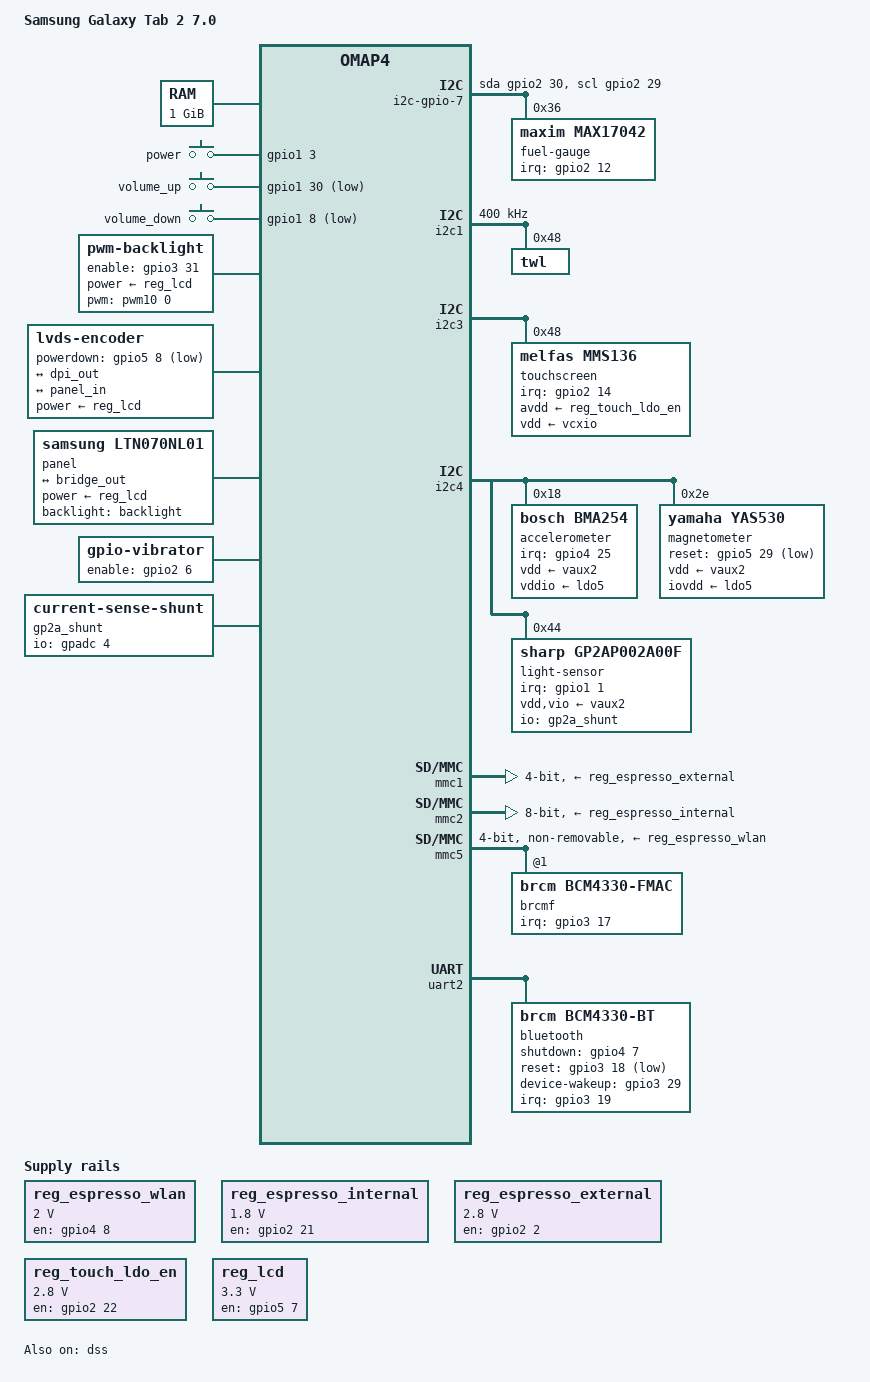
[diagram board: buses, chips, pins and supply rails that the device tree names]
// SPDX-License-Identifier: (GPL-2.0 OR MIT)
/dts-v1/;
#include "dt-bindings/gpio/gpio.h"
#include <dt-bindings/interrupt-controller/irq.h>
#include <dt-bindings/input/input.h>
#include "omap443x.dtsi"

/ {
	model = "Samsung Galaxy Tab 2 7.0";
	compatible = "samsung,espresso", "ti,omap4430", "ti,omap4";

	memory@80000000 {
		device_type = "memory";
		reg = <0x80000000 0x40000000>; /* 1 GB */
	};

	chosen {
		#address-cells = <1>;
		#size-cells = <1>;
		ranges;
	};

	i2c-gpio-7 {
		compatible = "i2c-gpio";
		sda-gpios = <&gpio2 30 (GPIO_ACTIVE_HIGH | GPIO_OPEN_DRAIN)>;
		scl-gpios = <&gpio2 29 (GPIO_ACTIVE_HIGH | GPIO_OPEN_DRAIN)>;
		i2c-gpio,delay-us = <3>;
		#address-cells = <1>;
		#size-cells = <0>;

		fuel-gauge@36 {
			compatible = "maxim,max17042";
			reg = <0x36>;
			pinctrl-0 = <&fuel_alert_irq>;
			pinctrl-names = "default";
			interrupt-parent = <&gpio2>;
			interrupts = <12 IRQ_TYPE_LEVEL_LOW>;
			maxim,rsns-microohm = <10000>;
			maxim,over-heat-temp = <500>;
			maxim,dead-volt = <2500>;
			maxim,over-volt = <4300>;
		};
	};

	reg_espresso_wlan: regulator-espresso-wlan {
		pinctrl-names = "default";
		pinctrl-0 = <&wlanen_gpio>;
		compatible = "regulator-fixed";
		regulator-name = "espresso_wlan";
		regulator-max-microvolt = <2000000>;
		regulator-min-microvolt = <2000000>;
		gpio = <&gpio4 8 GPIO_ACTIVE_HIGH>; /* GPIO_104 */
		startup-delay-us = <70000>;
		regulator-always-on;
		enable-active-high;
	};

	reg_espresso_internal: regulator-espresso-internal {
		compatible = "regulator-fixed";
		regulator-name = "eMMC_LDO";
		regulator-max-microvolt = <1800000>;
		regulator-min-microvolt = <1800000>;
		gpios = <&gpio2 21 GPIO_ACTIVE_HIGH>; /* GPIO_63 */
		startup-delay-us = <100000>;
		regulator-boot-on;
		regulator-always-on;
		enable-active-high;
	};

	reg_espresso_external: regulator-espresso-external {
		compatible = "regulator-fixed";
		regulator-name = "vmmc1";
		regulator-max-microvolt = <2800000>;
		regulator-min-microvolt = <2800000>;
		gpios = <&gpio2 2 GPIO_ACTIVE_HIGH>; /* GPIO_34 */
		regulator-always-on;
		enable-active-high;
	};

	reg_touch_ldo_en: regulator-touch-ldo-en  {
		compatible = "regulator-fixed";
		regulator-name = "touch_ldo_en";
		regulator-max-microvolt = <2800000>;
		regulator-min-microvolt = <2800000>;
		gpios = <&gpio2 22 GPIO_ACTIVE_HIGH>; /* GPIO_54 */
		regulator-always-on;
		enable-active-high;
	};

	gpio-keys {
		compatible = "gpio-keys";
		pinctrl-names = "default";
		pinctrl-0 = <&gpio_keys>;

		power {
			label = "power";

			gpios = <&gpio1 3 GPIO_ACTIVE_HIGH>; /* GPIO_wk3 */
			linux,code = <KEY_POWER>;
			wakeup-source;
		};

		button-volup {
			linux,code = <KEY_VOLUMEUP>;
			label = "volume_up"; /* GPIO_wk30 */
			gpios = <&gpio1 30 GPIO_ACTIVE_LOW>;
		};

		button-voldown {
			linux,code = <KEY_VOLUMEDOWN>;
			label = "volume_down"; /* GPIO_wk8 */
			gpios = <&gpio1 8 GPIO_ACTIVE_LOW>;
		};
	};

	reg_lcd: regulator-lcd  {
		compatible = "regulator-fixed";
		regulator-name = "lcd_en";
		gpios = <&gpio5 7 GPIO_ACTIVE_HIGH>; /* GPIO_135 */
		regulator-max-microvolt = <3300000>;
		regulator-min-microvolt = <3300000>;
		enable-active-high;
		regulator-boot-on;
	};

	pwm10: dmtimer-pwm@10 {
		pinctrl-names = "default";
		pinctrl-0 = <&pwm10_default>;
		compatible = "ti,omap-dmtimer-pwm";
		#pwm-cells = <3>;
		ti,timers = <&timer10>;
		ti,clock-source = <0x00>;
	};

	backlight: backlight {
		compatible = "pwm-backlight";
		pinctrl-names = "default";
		pinctrl-0 = <&backlight_pins>;
		pwms = <&pwm10 0 1200 0>;
		power-supply = <&reg_lcd>;
		enable-gpios = <&gpio3 31 GPIO_ACTIVE_HIGH>;
		brightness-levels = <0 4 8 16 32 64 128 255>;
		default-brightness-level = <7>;
	};

	lvds-encoder {
		compatible = "lvds-encoder", "doestek,dtc34lm85am";
		powerdown-gpios = <&gpio5 8 GPIO_ACTIVE_LOW>; /* GPIO_136 */
		power-supply = <&reg_lcd>;
		ports {
			#address-cells = <1>;
			#size-cells = <0>;

			port@0 {
				reg = <0>;
				bridge_in: endpoint {
					remote-endpoint = <&dpi_out>;
				};
			};

			port@1 {
				reg = <1>;
				bridge_out: endpoint {
					remote-endpoint = <&panel_in>;
				};
			};
		};
	};

	panel {
		compatible = "samsung,ltn070nl01", "panel-lvds";
		power-supply = <&reg_lcd>;
		width-mm = <154>;
		height-mm = <90>;
		data-mapping = "jeida-24";
		backlight = <&backlight>;

		panel-timing {
			clock-frequency = <47255554>;

			hback-porch = <210>;
			hactive = <1024>;
			hfront-porch = <186>;
			hsync-len = <50>;

			vback-porch = <11>;
			vactive = <600>;
			vfront-porch = <24>;
			vsync-len = <10>;

			hsync-active = <0>;
			vsync-active = <0>;
			de-active = <1>;
			pixelclk-active = <1>;
			syncclk-active = <0>;
		};

		port {
			panel_in: endpoint {
				remote-endpoint = <&bridge_out>;
			};
		};
	};

	vibrator {
		compatible = "gpio-vibrator";
		enable-gpios = <&gpio2 6 GPIO_ACTIVE_HIGH>; /* GPIO_38 */
		pinctrl-names = "default";
		pinctrl-0 = <&vibrator_default>;
	};

	gp2a_shunt: current-sense-shunt {
		compatible = "current-sense-shunt";
		io-channels = <&gpadc 4>;
		shunt-resistor-micro-ohms = <24000000>; /* 24 ohms */
		#io-channel-cells = <0>;
		io-channel-ranges;
	};
};

&omap4_pmx_wkup {
	twl6030_wkup_pins: pinmux_twl6030_wkup_pins {
		pinctrl-single,pins = <
			OMAP4_IOPAD(0x54, PIN_OUTPUT | MUX_MODE3)	/* fref_clk0_out.sys_drm_msecure */
		>;
	};

	gpio_keys: pinmux_gpio_keys {
		pinctrl-single,pins = <
			OMAP4_IOPAD(0x046, WAKEUP_EN | PIN_INPUT | MUX_MODE3) /* sim_cd.gpio_wk3 - EXT_WAKEUP */
			OMAP4_IOPAD(0x056, WAKEUP_EN | PIN_INPUT | MUX_MODE3) /* fref_clk3_req.gpio_wk30 - VOL_UP */
			OMAP4_IOPAD(0x05C, WAKEUP_EN | PIN_INPUT | MUX_MODE3) /* fref_clk4_out.gpio_wk8 - VOL_DN */
		>;
	};

	prox_irq: pinmux_prox_irq {
		pinctrl-single,pins = <
			OMAP4_IOPAD(0x042, WAKEUP_EN | PIN_INPUT_PULLUP | MUX_MODE3) /* sim_clk.gpio_wk1 - PS_VOUT */
		>;
	};
};

&omap4_pmx_core {
	pwm10_default: pinmux_pwm10_default {
		pinctrl-single,pins = <
			OMAP4_IOPAD(0X0D6, PIN_OUTPUT | PIN_OFF_OUTPUT_LOW | MUX_MODE1)
			/* usbb1_ulpitll_dat6.dmtimer10_pwm_evt - LED_BACKLIGHT_PWM */
		>;
	};

	backlight_pins: pinmux_backlight_pins {
		pinctrl-single,pins = <
			OMAP4_IOPAD(0X0D8, PIN_OUTPUT | PIN_OFF_OUTPUT_LOW | MUX_MODE3)
			/* usbb1_ulpitll_dat7.gpio_95 - LED_BACKLIGHT_RESET */
		>;
	};

	lvds_pins: pinmux_lvds_pins {
		pinctrl-single,pins = <
			OMAP4_IOPAD(0X136, PIN_OUTPUT | MUX_MODE3)
			/* mcspi1_simo.gpio_136 - LVDS_nSHDN */
		>;
	};

	i2c1_pins: pinmux_i2c1_pins {
		pinctrl-single,pins = <
			OMAP4_IOPAD(0x122, PIN_INPUT_PULLUP | MUX_MODE0)	/* i2c1_scl */
			OMAP4_IOPAD(0x124, PIN_INPUT_PULLUP | MUX_MODE0)	/* i2c1_sda */
		>;
	};

	i2c2_pins: pinmux_i2c2_pins {
		pinctrl-single,pins = <
			OMAP4_IOPAD(0x126, PIN_INPUT_PULLUP | MUX_MODE0)	/* i2c2_scl */
			OMAP4_IOPAD(0x128, PIN_INPUT_PULLUP | MUX_MODE0)	/* i2c2_sda */
		>;
	};

	i2c3_pins: pinmux_i2c3_pins {
		pinctrl-single,pins = <
			OMAP4_IOPAD(0x12a, PIN_INPUT_PULLUP | MUX_MODE0)	/* i2c3_scl */
			OMAP4_IOPAD(0x12c, PIN_INPUT_PULLUP | MUX_MODE0)	/* i2c3_sda */
		>;
	};

	i2c4_pins: pinmux_i2c4_pins {
		pinctrl-single,pins = <
			OMAP4_IOPAD(0x12e, PIN_INPUT_PULLUP | MUX_MODE0)	/* i2c4_scl */
			OMAP4_IOPAD(0x130, PIN_INPUT_PULLUP | MUX_MODE0)	/* i2c4_sda */
		>;
	};

	mmc2_pins: pinmux_mmc2_pins {
		pinctrl-single,pins = <
			OMAP4_IOPAD(0x040, PIN_INPUT_PULLUP | MUX_MODE1)	/* sdmmc2_dat0 */
			OMAP4_IOPAD(0x042, PIN_INPUT_PULLUP | MUX_MODE1)	/* sdmmc2_dat1 */
			OMAP4_IOPAD(0x044, PIN_INPUT_PULLUP | MUX_MODE1)	/* sdmmc2_dat2 */
			OMAP4_IOPAD(0x046, PIN_INPUT_PULLUP | MUX_MODE1)	/* sdmmc2_dat3 */
			OMAP4_IOPAD(0x048, PIN_INPUT_PULLUP | MUX_MODE1)	/* sdmmc2_dat4 */
			OMAP4_IOPAD(0x04a, PIN_INPUT_PULLUP | MUX_MODE1)	/* sdmmc2_dat5 */
			OMAP4_IOPAD(0x04c, PIN_INPUT_PULLUP | MUX_MODE1)	/* sdmmc2_dat6 */
			OMAP4_IOPAD(0x04e, PIN_INPUT_PULLUP | MUX_MODE1)	/* sdmmc2_dat7 */
			OMAP4_IOPAD(0x082, PIN_INPUT_PULLUP | MUX_MODE1)	/* sdmmc2_clk */
			OMAP4_IOPAD(0x084, PIN_INPUT_PULLUP | MUX_MODE1)	/* sdmmc2_cmd */
		>;
	};

	mmc1_pins: pinmux_mmc1_pins {
		pinctrl-single,pins = <
			OMAP4_IOPAD(0x0e2, PIN_INPUT_PULLDOWN | MUX_MODE0)	/* sdmmc1_clk */
			OMAP4_IOPAD(0x0e4, PIN_INPUT_PULLUP | MUX_MODE0)	/* sdmcc1_cmd */
			OMAP4_IOPAD(0x0e6, PIN_INPUT_PULLUP | MUX_MODE0)	/* sdmcc1_dat0 */
			OMAP4_IOPAD(0x0e8, PIN_INPUT_PULLUP | MUX_MODE0)	/* sdmmc1_dat1 */
			OMAP4_IOPAD(0x0ea, PIN_INPUT_PULLUP | MUX_MODE0)	/* sdmmc1_dat2 */
			OMAP4_IOPAD(0x0ec, PIN_INPUT_PULLUP | MUX_MODE0)	/* sdmmc1_dat3 */
		>;
	};

	mmc5_pins: pinmux_mmc5_pins {
		pinctrl-single,pins = <
			OMAP4_IOPAD(0x148, PIN_INPUT_PULLDOWN | MUX_MODE0)	/* sdmmc5_clk.sdmmc5_clk */
			OMAP4_IOPAD(0x14a, PIN_INPUT_PULLUP | MUX_MODE0)	/* sdmmc5_cmd.sdmmc5_cmd */
			OMAP4_IOPAD(0x14c, PIN_INPUT_PULLUP | MUX_MODE0)	/* sdmmc5_dat0.sdmmc5_dat0 */
			OMAP4_IOPAD(0x14e, PIN_INPUT_PULLUP | MUX_MODE0)	/* sdmmc5_dat1.sdmmc5_dat1 */
			OMAP4_IOPAD(0x150, PIN_INPUT_PULLUP | MUX_MODE0)	/* sdmmc5_dat2.sdmmc5_dat2 */
			OMAP4_IOPAD(0x152, PIN_INPUT_PULLUP | MUX_MODE0)	/* sdmmc5_dat3.sdmmc5_dat3 */
		>;
	};

	dss_dpi_pins: pinmux_dss_dpi_pins {
		pinctrl-single,pins = <
			OMAP4_IOPAD(0x162, PIN_OFF_OUTPUT_LOW | MUX_MODE5)	/* dispc2_data23 */
			OMAP4_IOPAD(0x164, PIN_OFF_OUTPUT_LOW | MUX_MODE5)	/* dispc2_data22 */
			OMAP4_IOPAD(0x166, PIN_OFF_OUTPUT_LOW | MUX_MODE5)	/* dispc2_data21 */
			OMAP4_IOPAD(0x168, PIN_OFF_OUTPUT_LOW | MUX_MODE5)	/* dispc2_data20 */
			OMAP4_IOPAD(0x16a, PIN_OFF_OUTPUT_LOW | MUX_MODE5)	/* dispc2_data19 */
			OMAP4_IOPAD(0x16c, PIN_OFF_OUTPUT_LOW | MUX_MODE5)	/* dispc2_data18 */
			OMAP4_IOPAD(0x16e, PIN_OFF_OUTPUT_LOW | MUX_MODE5)	/* dispc2_data15 */
			OMAP4_IOPAD(0x170, PIN_OFF_OUTPUT_LOW | MUX_MODE5)	/* dispc2_data14 */
			OMAP4_IOPAD(0x172, PIN_OFF_OUTPUT_LOW | MUX_MODE5)	/* dispc2_data13 */
			OMAP4_IOPAD(0x174, PIN_OFF_OUTPUT_LOW | MUX_MODE5)	/* dispc2_data12 */
			OMAP4_IOPAD(0x176, PIN_OFF_OUTPUT_LOW | MUX_MODE5)	/* dispc2_data11 */

			OMAP4_IOPAD(0x1b4, PIN_OFF_OUTPUT_LOW | MUX_MODE5)	/* dispc2_data10 */
			OMAP4_IOPAD(0x1b6, PIN_OFF_OUTPUT_LOW | MUX_MODE5)	/* dispc2_data9 */
			OMAP4_IOPAD(0x1b8, PIN_OFF_OUTPUT_LOW | MUX_MODE5)	/* dispc2_data16 */
			OMAP4_IOPAD(0x1ba, PIN_OFF_OUTPUT_LOW | MUX_MODE5)	/* dispc2_data17 */
			OMAP4_IOPAD(0x1bc, PIN_OFF_OUTPUT_LOW | MUX_MODE5)	/* dispc2_hsync */
			OMAP4_IOPAD(0x1be, PIN_OFF_OUTPUT_LOW | MUX_MODE5)	/* dispc2_pclk */
			OMAP4_IOPAD(0x1c0, PIN_OFF_OUTPUT_LOW | MUX_MODE5)	/* dispc2_vsync */
			OMAP4_IOPAD(0x1c2, PIN_OFF_OUTPUT_LOW | MUX_MODE5)	/* dispc2_de */
			OMAP4_IOPAD(0x1c4, PIN_OFF_OUTPUT_LOW | MUX_MODE5)	/* dispc2_data8 */
			OMAP4_IOPAD(0x1c6, PIN_OFF_OUTPUT_LOW | MUX_MODE5)	/* dispc2_data7 */
			OMAP4_IOPAD(0x1c8, PIN_OFF_OUTPUT_LOW | MUX_MODE5)	/* dispc2_data6 */
			OMAP4_IOPAD(0x1ca, PIN_OFF_OUTPUT_LOW | MUX_MODE5)	/* dispc2_data5 */
			OMAP4_IOPAD(0x1cc, PIN_OFF_OUTPUT_LOW | MUX_MODE5)	/* dispc2_data4 */
			OMAP4_IOPAD(0x1ce, PIN_OFF_OUTPUT_LOW | MUX_MODE5)	/* dispc2_data3 */

			OMAP4_IOPAD(0x1d0, PIN_OFF_OUTPUT_LOW | MUX_MODE5)	/* dispc2_data2 */
			OMAP4_IOPAD(0x1d2, PIN_OFF_OUTPUT_LOW | MUX_MODE5)	/* dispc2_data1 */
			OMAP4_IOPAD(0x1d4, PIN_OFF_OUTPUT_LOW | MUX_MODE5)	/* dispc2_data0 */
		>;
	};

	wlanen_gpio: pinmux_wlanen_gpio {
		pinctrl-single,pins = <
			OMAP4_IOPAD(0x096, PIN_OUTPUT | MUX_MODE3)		/* gpmc_ncs7.gpio_104 */
		>;
	};

	twl6030_pins: pinmux_twl6030_pins {
		pinctrl-single,pins = <
			OMAP4_IOPAD(0x19e, WAKEUP_EN | PIN_INPUT_PULLUP | MUX_MODE0)	/* sys_nirq1.sys_nirq1 */
		>;
	};

	fuel_alert_irq: fuel-alert-irq {
		pinctrl-single,pins = <
			OMAP4_IOPAD(0x068, WAKEUP_EN | PIN_INPUT_PULLUP | MUX_MODE3)	/* gpmc_a20.gpio_44 */
		>;
	};

	uart3_pins: pinmux_uart3_pins {
		pinctrl-single,pins = <
			OMAP4_IOPAD(0x144, PIN_INPUT | MUX_MODE0)		/* uart3_rx_irrx */
			OMAP4_IOPAD(0x146, PIN_OUTPUT | MUX_MODE0)		/* uart3_tx_irtx */
		>;
	};

	uart2_pins: pinmux_uart2_pins {
		pinctrl-single,pins = <
			OMAP4_IOPAD(0x118, PIN_INPUT_PULLUP | MUX_MODE0)	/* uart2_cts.uart2_cts */
			OMAP4_IOPAD(0x11a, PIN_INPUT_PULLUP | MUX_MODE0)	/* uart2_rts.uart2_rts */
			OMAP4_IOPAD(0x11c, PIN_INPUT_PULLUP | MUX_MODE0)	/* uart2_rx.uart2_rx */
			OMAP4_IOPAD(0x11e, PIN_INPUT_PULLUP | MUX_MODE0)	/* uart2_tx.uart2_tx */
		>;
	};

	wlan_host_wake: pinmux_wlan_host_wake {
		pinctrl-single,pins = <
			OMAP4_IOPAD(0x0bc, WAKEUP_EN | PIN_INPUT | MUX_MODE3)
			/* cam_shutter.gpio_81 - WLAN_HOST_WAKE */
		>;
	};

	bluetooth_pins: pinmux_bluetooth_pins {
		pinctrl-single,pins = <
			OMAP4_IOPAD(0x094, PIN_OUTPUT | MUX_MODE3)
			/* gpmc_ncs6.gpio_103 - BT_EN */
			OMAP4_IOPAD(0x0be, PIN_OUTPUT | MUX_MODE3)
			/* cam_strobe.gpio_82 - BT_nRST */
			OMAP4_IOPAD(0x0c0, WAKEUP_EN | PIN_INPUT | MUX_MODE3)
			/* cam_globalreset.gpio_83 - BT_HOST_WAKE */
			OMAP4_IOPAD(0x0d4, PIN_OUTPUT | MUX_MODE3)
			/* usbb1_ulpitll_dat5.gpio_93 - BT_WAKE */
		>;
	};

	touch_pins: pinmux_touch_pins {
		pinctrl-single,pins = <
			OMAP4_IOPAD(0x06c, PIN_INPUT | MUX_MODE3)
			/* gpmc_a22.gpio_46 - TSP_INT */
		>;
	};

	vibrator_default: pinmux_vibrator_default {
		pinctrl-single,pins = <
			OMAP4_IOPAD(0x05c, PIN_INPUT_PULLDOWN | MUX_MODE3)
			/* gpmc_ad14.gpio_38 - MOTOR_EN */
		>;
	};

	gp2a_irq: pinmux_gp2a_irq {
		pinctrl-single,pins = <
			OMAP4_IOPAD(0x052, WAKEUP_EN | PIN_INPUT | MUX_MODE3)
			/* gpmc_ad9.gpio_33 - ALS_INT_18 */
		>;
	};
};

&i2c1 {
	pinctrl-names = "default";
	pinctrl-0 = <&i2c1_pins>;

	clock-frequency = <400000>;

	twl: twl@48 {
		reg = <0x48>;

		pinctrl-names = "default";
		pinctrl-0 = <
			&twl6030_pins
			&twl6030_wkup_pins
		>;

		/* SPI = 0, IRQ# = 7, 4 = active high level-sensitive */
		interrupts = <GIC_SPI 7 IRQ_TYPE_LEVEL_HIGH>; /* IRQ_SYS_1N cascaded to gic */
		interrupt-parent = <&gic>;

		twl_power: power {
			compatible = "ti,twl6030-power";
			ti,system-power-controller;
		};
	};
};

#include "twl6032.dtsi"

&i2c3 {
	pinctrl-names = "default";
	pinctrl-0 = <&i2c3_pins>;

	touchscreen@48 {
		compatible = "melfas,mms136";
		reg = <0x48>;
		interrupt-parent = <&gpio2>;
		interrupts = <14 IRQ_TYPE_EDGE_FALLING>;
		touchscreen-size-x = <1023>;
		touchscreen-size-y = <599>;
		pinctrl-names = "default";
		pinctrl-0 = <&touch_pins>;
		avdd-supply = <&reg_touch_ldo_en>;
		vdd-supply = <&vcxio>;
	};
};

&i2c4 {
	pinctrl-names = "default";
	pinctrl-0 = <&i2c4_pins>;

	accelerometer@18 {
		compatible = "bosch,bma254";
		reg = <0x18>;
		vdd-supply = <&vaux2>;
		vddio-supply = <&ldo5>;
		interrupt-parent = <&gpio4>;
		interrupts = <25 (IRQ_TYPE_LEVEL_HIGH | IRQ_TYPE_EDGE_RISING)> , <26 (IRQ_TYPE_LEVEL_HIGH | IRQ_TYPE_EDGE_RISING)>;
		mount-matrix =  "-1",  "0",  "0",
				"0",  "1",  "0",
				"0",  "0", "1";
	};

	magnetometer@2e {
		compatible = "yamaha,yas530";
		reg = <0x2e>;
		vdd-supply = <&vaux2>;
		iovdd-supply = <&ldo5>;
		reset-gpios = <&gpio5 29 GPIO_ACTIVE_LOW>;
		interrupts = <&gpio6 10 IRQ_TYPE_EDGE_RISING>;
	};

	light-sensor@44 {
		compatible = "sharp,gp2ap002a00f";
		reg = <0x44>;
		interrupt-parent = <&gpio1>;
		interrupts = <1 IRQ_TYPE_EDGE_FALLING>;
		vdd-supply = <&vaux2>;
		vio-supply = <&vaux2>;
		io-channels = <&gp2a_shunt>;
		io-channel-names = "alsout";
		sharp,proximity-far-hysteresis = /bits/ 8 <0x40>;
		sharp,proximity-close-hysteresis = /bits/ 8 <0x20>;
		pinctrl-names = "default";
		pinctrl-0 = <&gp2a_irq &prox_irq>;
	};
};

&dss {
	status = "okay";

	pinctrl-names = "default";
	pinctrl-0 = <&dss_dpi_pins>;

	port {
		dpi_out: endpoint {
			remote-endpoint = <&bridge_in>;
			data-lines = <24>;
		};
	};
};

#include "twl6030.dtsi"

&twl_usb_comparator {
	usb-supply = <&vusb>;
};

&usb_otg_hs {
	interface-type = <1>;
	mode = <3>;
	power = <50>;
};

&mmc1 {
	status = "ok";
	pinctrl-names = "default";
	pinctrl-0 = <&mmc1_pins>;

	vmmc-supply = <&reg_espresso_external>;
	bus-width = <4>;
};


&mmc2 {
	pinctrl-names = "default";
	pinctrl-0 = <&mmc2_pins>;

	vmmc-supply = <&reg_espresso_internal>;
	ti,non-removable;
	bus-width = <8>;
};

&mmc3 {
	status = "disabled";
};

&mmc4 {
	status = "disabled";
};

&mmc5 {
	status = "okay";

	#address-cells = <1>;
	#size-cells = <0>;

	non-removable;
	bus-width = <4>;
	vmmc-supply = <&reg_espresso_wlan>;

	pinctrl-names = "default";
	pinctrl-0 = <&mmc5_pins>;

	brcmf: wifi@1 {
		compatible = "brcm,bcm4330-fmac", "brcm,bcm4329-fmac";
		reg = <1>;

		interrupt-parent = <&gpio3>;
		interrupts = <17 IRQ_TYPE_LEVEL_HIGH>;
		interrupt-names = "host-wake";
		pinctrl-names = "default";
		pinctrl-0 = <&wlan_host_wake>;
	};
};

&uart2 {
	interrupts-extended = <&wakeupgen GIC_SPI 73 IRQ_TYPE_LEVEL_HIGH
                        &omap4_pmx_core OMAP4_UART2_RX>;
	pinctrl-names = "default";
	pinctrl-0 = <&uart2_pins>;
	bluetooth {
		compatible = "brcm,bcm4330-bt";
		pinctrl-names = "default";
		pinctrl-0 = <&bluetooth_pins>;
		shutdown-gpios = <&gpio4 7 GPIO_ACTIVE_HIGH>;
		reset-gpios = <&gpio3 18 GPIO_ACTIVE_LOW>;
		device-wakeup-gpios = <&gpio3 29 GPIO_ACTIVE_HIGH>;
		interrupt-parent = <&gpio3>;
		interrupts = <19 IRQ_TYPE_EDGE_FALLING>;
	};
};
